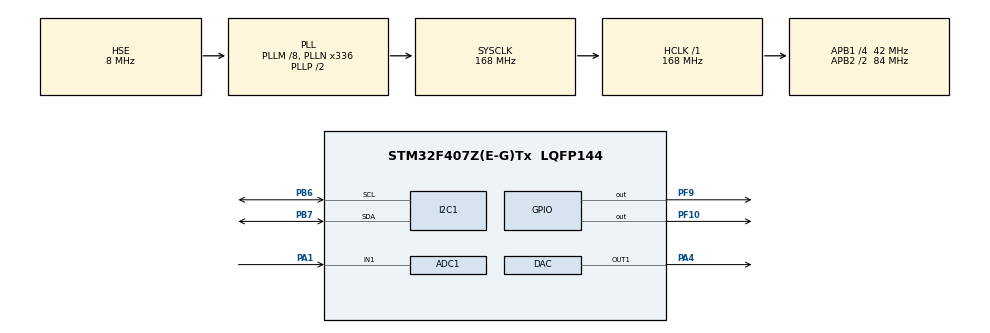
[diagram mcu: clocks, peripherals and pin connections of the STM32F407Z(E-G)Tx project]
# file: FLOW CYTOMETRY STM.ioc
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ADC1.Channel-0\#ChannelRegularConversion=ADC_CHANNEL_1
ADC1.ContinuousConvMode=ENABLE
ADC1.DMAContinuousRequests=ENABLE
ADC1.NbrOfConversionFlag=1
ADC1.Rank-0\#ChannelRegularConversion=1
ADC1.SamplingTime-0\#ChannelRegularConversion=ADC_SAMPLETIME_3CYCLES
ADC1.master=1
Dma.ADC1.0.Direction=DMA_PERIPH_TO_MEMORY
Dma.ADC1.0.FIFOMode=DMA_FIFOMODE_DISABLE
Dma.ADC1.0.Instance=DMA2_Stream0
Dma.ADC1.0.MemDataAlignment=DMA_MDATAALIGN_HALFWORD
Dma.ADC1.0.MemInc=DMA_MINC_ENABLE
Dma.ADC1.0.Mode=DMA_CIRCULAR
Dma.ADC1.0.PeriphDataAlignment=DMA_PDATAALIGN_HALFWORD
Dma.ADC1.0.PeriphInc=DMA_PINC_DISABLE
Dma.ADC1.0.Priority=DMA_PRIORITY_LOW
Dma.Request0=ADC1
Mcu.Family=STM32F4
Mcu.Name=STM32F407Z(E-G)Tx
Mcu.Package=LQFP144
NVIC.ADC_IRQn=true\:0\:0\:false\:false\:true\:true\:true\:true
NVIC.DMA2_Stream0_IRQn=true\:0\:0\:false\:false\:true\:false\:true\:true
NVIC.PriorityGroup=NVIC_PRIORITYGROUP_4
NVIC.TIM3_IRQn=true\:0\:0\:false\:false\:true\:true\:true\:true
PA1.Signal=ADCx_IN1
PA13.Mode=Serial_Wire
PA13.Signal=SYS_JTMS-SWDIO
PA14.Mode=Serial_Wire
PA14.Signal=SYS_JTCK-SWCLK
PA4.Signal=COMP_DAC1_group
PB6.Mode=I2C
PB6.Signal=I2C1_SCL
PB7.Mode=I2C
PB7.Signal=I2C1_SDA
PF10.GPIO_ModeDefaultOutputPP=GPIO_MODE_OUTPUT_PP
PF10.GPIO_PuPd=GPIO_PULLUP
PF10.GPIO_Speed=GPIO_SPEED_FREQ_HIGH
PF10.PinState=GPIO_PIN_SET
PF10.Signal=GPIO_Output
PF9.GPIO_PuPd=GPIO_PULLUP
PF9.GPIO_Speed=GPIO_SPEED_FREQ_HIGH
PF9.PinState=GPIO_PIN_SET
PF9.Signal=GPIO_Output
PH0-OSC_IN.Mode=HSE-External-Oscillator
PH0-OSC_IN.Signal=RCC_OSC_IN
PH1-OSC_OUT.Mode=HSE-External-Oscillator
PH1-OSC_OUT.Signal=RCC_OSC_OUT
ProjectManager.HeapSize=0x200
ProjectManager.StackSize=0x400
ProjectManager.TargetToolchain=MDK-ARM V5.32
RCC.48MHZClocksFreq_Value=84000000
RCC.AHBFreq_Value=168000000
RCC.APB1CLKDivider=RCC_HCLK_DIV4
RCC.APB1Freq_Value=42000000
RCC.APB1TimFreq_Value=84000000
RCC.APB2CLKDivider=RCC_HCLK_DIV2
RCC.APB2Freq_Value=84000000
RCC.APB2TimFreq_Value=168000000
RCC.CortexFreq_Value=168000000
RCC.HCLKFreq_Value=168000000
RCC.HSE_VALUE=8000000
RCC.HSI_VALUE=16000000
RCC.LSE_VALUE=32768
RCC.PLLM=8
RCC.PLLN=336
RCC.PLLSourceVirtual=RCC_PLLSOURCE_HSE
RCC.SYSCLKFreq_VALUE=168000000
RCC.SYSCLKSource=RCC_SYSCLKSOURCE_PLLCLK
RCC.VCOOutputFreq_Value=336000000
SH.ADCx_IN1.0=ADC1_IN1,IN1
SH.COMP_DAC1_group.0=DAC_OUT1,DAC_OUT1
TIM3.AutoReloadPreload=TIM_AUTORELOAD_PRELOAD_ENABLE
TIM3.Period=999
TIM3.Prescaler=83
VP_TIM3_VS_ClockSourceINT.Mode=Internal
board=custom

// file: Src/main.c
/* USER CODE BEGIN Header */
/**
  ******************************************************************************
  * @file           : main.c
  * @brief          : Main program body
  ******************************************************************************
  * @attention
  *
  * Copyright (c) 2023 STMicroelectronics.
  * All rights reserved.
  *
  * This software is licensed under terms that can be found in the LICENSE file
  * in the root directory of this software component.
  * If no LICENSE file comes with this software, it is provided AS-IS.
  *
  ******************************************************************************
  */
/* USER CODE END Header */
#include "sys.h"
#include "delay.h"
#include "usart.h"
#include "main.h"
#include "adc.h"
#include "dac.h"
#include "dma.h"
#include "i2c.h"
#include "tim.h"
#include "gpio.h"
#include "mcp4728.h"

/* USER CODE BEGIN PTD */
// 将变量变成全局变量可以方便后续定时器不用反复多次定义
int detection_num = 0;
int arry_value[3] = {0};
int arry = 0;
/* USER CODE END PTD */

/* USER CODE BEGIN PD */

// 捕获单片机当前时间，单位us级
__STATIC_INLINE uint32_t GXT_SYSTICK_IsActiveCounterFlag(void)
{
  return ((SysTick->CTRL & SysTick_CTRL_COUNTFLAG_Msk) == (SysTick_CTRL_COUNTFLAG_Msk));
}
static uint32_t getCurrentMicros(void)
{
  /* Ensure COUNTFLAG is reset by reading SysTick control and status register */
  GXT_SYSTICK_IsActiveCounterFlag();
  uint32_t m = HAL_GetTick();
  const uint32_t tms = SysTick->LOAD + 1;
  __IO uint32_t u = tms - SysTick->VAL;
  if (GXT_SYSTICK_IsActiveCounterFlag()) {
    m = HAL_GetTick();
    u = tms - SysTick->VAL;
  }
  return (m * 1000 + (u * 1000) / tms);
}
//获取系统时间，单位us
uint32_t micros(void)
{
  return getCurrentMicros();
}

//无波峰检测，仅仅只为测试用
//int Wave_detection_num(int num)
//{
////  获取当前单片机时间，us级
//	printf("%d",micros());
//	int adc_value,Wave_detection_num=0;
//	for(int i=0; i<num; i++)
//	{
//		adc_value = Get_Adc(ADC_CHANNEL_5);  //值得注意的是，此处若采用Get_Adc_Average()函数则报错

//		if(adc_value >= 2482)  //此处数值为x/3.3*4095，2482约为实际电压2V
//		{
//		  Wave_detection_num++;
//		}
//		delay_us(10);
//
//		adc_value = 0;
//	}
////  获取当前单片机时间，us级
//	printf("%d",micros());
//
//	return Wave_detection_num;
//}

//无波峰检测，delay方式，仅仅只为测试用
int Wave_detection_num(int num)
{
	//  获取当前单片机时间，ms级
//	printf("%d\r\n",HAL_GetTick());
	int time_on,time_off = 0;
	int adc_value,Wave_detection_num=0;
	//  获取当前单片机时间，ms级
	time_on = HAL_GetTick();
	while(1)
	{
	  time_off=HAL_GetTick();
		if(time_off-time_on <= num)
	   {
		   adc_value = Get_Adc(ADC_CHANNEL_5);

		   if(adc_value >= 2482)  //此处数值为x/3.3*4095，2482约为实际电压2V
		   {
		     Wave_detection_num++;
		   }
		   delay_us(50);
	   }
		 else{
			 break;
		 }
	 }
////  获取当前单片机时间，us级
//	printf("%d",micros());
    //  获取当前单片机时间，ms级
//	printf("%d\r\n",HAL_GetTick());
	return Wave_detection_num;
}

////无波峰检测，delay方式，仅仅只为测试用  （三位的函数,但是传输的HEX）
//void Waven()
//{
//	int adc_value;
//  adc_value = Get_Adc(ADC_CHANNEL_5);  //值得注意的是，此处若采用Get_Adc_Average()函数则报错
//	adc_value = adc_value & 0xfff;
////	printf("%d",sizeof adc_value);
//	printf("%03x",adc_value);     // 补足三位
//}

//无波峰检测，delay方式，仅仅只为测试用  （两位的函数，但是传输的ASCII）
void Waven()
{
	int adc_value;
	u8 temp[2]={0};
  adc_value = Get_Adc(ADC_CHANNEL_5);  //值得注意的是，此处若采用Get_Adc_Average()函数则报错
	temp[1] = adc_value & 0xff;
	temp[0] = (adc_value & 0xff00) >> 8;
//	printf("%x",temp[1]);
//	printf("%x",temp[0]);
  HAL_UART_Transmit(&UART1_Handler, temp, 2, 0xFFFF);
}

// 位移操作
void shift(int arr[],int value)
{
		int a,b=0;
	  a=arr[1];
	  b=arr[2];
	  arr[0]=a;
	  arr[1]=b;
	  arr[2]=value;
}

//波峰检测，仅仅只为测试用
int Wavepeak_detection_num(int num)
{
	int adc_value[3]={0};
	int detection_num=0;

	for(int m=0;m<=num;m++)
	{
		int b = Get_Adc(ADC_CHANNEL_5);
		shift(adc_value,b);

		if( adc_value[1] >= 3722)
		{
			if(adc_value[1] >= adc_value[0] && adc_value[1] >= adc_value[2])
			{
				detection_num++;
			}
		}
		delay_us(50);
	}

	return detection_num;
}

// 定时器更新中断回调函数
void HAL_TIM_PeriodElapsedCallback(TIM_HandleTypeDef *htim)
{
	static uint32_t TIM3_Cnt1 = 0;
	int adc_value;
	u8 temp[2]={0};

	// 判断是定时器3发生的中断
	if(htim->Instance == TIM3)
	{
		// 定时器3每中断一次，计数器自加1
		TIM3_Cnt1 ++;

    adc_value = Get_Adc(ADC_CHANNEL_5);  //值得注意的是，此处若采用Get_Adc_Average()函数则报错
		shift(arry_value,adc_value);
		if(arry_value[1] >= 2482)  //此处数值为x/3.3*4095，2482约为实际电压2V
		 {
			 if(arry_value[1] >= arry_value[0] && arry_value[1] >= arry_value[2])
			 {
		     detection_num++;
			 }
		 }

		temp[1] = adc_value & 0xff;
	  temp[0] = (adc_value & 0xff00) >> 8;
//	  printf("%x",temp[1]);
//	  printf("%x",temp[0]);
    HAL_UART_Transmit(&UART1_Handler, temp, 2, 0xFFFF);

		// 计数10000次，定时5s
		if(TIM3_Cnt1 >= 20000)
		{
			// 清除计数器
			TIM3_Cnt1 = 0;
      // 翻转LED_R的电平状态
      // HAL_GPIO_TogglePin(GPIOF, GPIO_PIN_9);

			printf("%d",detection_num);
			detection_num = 0;
			// 清除定时器初始化过程中的更新中断标志，避免定时器一启动就中断
      __HAL_TIM_CLEAR_IT(&htim3, TIM_IT_UPDATE);
      // 使能定时器3更新中断并关闭定时器
      HAL_TIM_Base_Stop_IT(&htim3);
		}
	}
}

/* USER CODE END PTD */

/* Private define ------------------------------------------------------------*/
/* USER CODE BEGIN PD */
/* USER CODE END PD */

void SystemClock_Config(void);

int main(void)
{
  /* USER CODE BEGIN 1 */
	unsigned int crist;
	int can;
	int t=0;

  /* USER CODE END 1 */

  /* MCU Configuration--------------------------------------------------------*/

  /* Reset of all peripherals, Initializes the Flash interface and the Systick. */
  HAL_Init();

  /* Configure the system clock */
  SystemClock_Config();

  /* Initialize all configured peripherals */
  delay_init(168);               	//初始化延时函数
	uart_init(256000);             	//初始化USART
	MX_GPIO_Init();
  MX_DMA_Init();
  MX_ADC1_Init();
  MX_DAC_Init();
  MX_I2C1_Init();
  MX_TIM3_Init();

  /* Infinite loop */
   while (1)
  {

    if(USART_RX_STA&0x8000)
		{

			if(USART_RX_BUF[0]=='P')
				{
//					#这里为测试代码
//					printf("\r\n\r\n");//插入换行
//					printf("%d\n",(int) USART_RX_BUF[1]);
//					if(USART_RX_BUF[1]==0x00)
//					{
//						a=(int) USART_RX_BUF[2];
//						b=(int) USART_RX_BUF[3];
//						printf("\r\n\r\n");//插入换行
//						crist = a*100 + b;
//						HAL_Delay(200);
//						printf("%d\n",crist);
//						printf("\r\n\r\n");//插入换行
//						printf("obsidian\n");
//				}

//					#这里为全通道相同数值
//					printf("\r\n\r\n");
					crist = USART_RX_BUF[1] << 8;
					crist += USART_RX_BUF[2];
					printf("%d\n",crist);
					MCP4728_Write_AllChannels_Same(&hi2c1, crist);
				}

			if(USART_RX_BUF[0]== 'Q')
				{

//					#这里为单通道赋予数值
//					printf("\r\n\r\n");
					can=(int) USART_RX_BUF[1];
					crist = USART_RX_BUF[2] << 8;
					crist += USART_RX_BUF[3];
					printf("%d\n",crist);
					MCP4728_Write_SingleChannel(&hi2c1, can, crist);

				}

			if(USART_RX_BUF[0]== 'R')
			{
				//这里判别通道的方式为一个通道对应一个GPIO引脚，所以拉高拉低相应引脚即可，此处0x01对应PF10,高频电磁阀
				if(USART_RX_BUF[1]== 0x01)
				{
					if(USART_RX_BUF[2]== 0x00)
					{
						HAL_GPIO_WritePin(GPIOF,GPIO_PIN_10,GPIO_PIN_RESET);
						HAL_GPIO_WritePin(GPIOF,GPIO_PIN_9,GPIO_PIN_RESET);
						printf("off");
					}
					if(USART_RX_BUF[2]== 0x01)
					{
						HAL_GPIO_WritePin(GPIOF,GPIO_PIN_10,GPIO_PIN_SET);
						HAL_GPIO_WritePin(GPIOF,GPIO_PIN_9,GPIO_PIN_SET);
						printf("on");
					}
					if(USART_RX_BUF[2]== 0x02)
					{
						while(t<=4)
						{
					   HAL_GPIO_WritePin(GPIOF,GPIO_PIN_10,GPIO_PIN_SET);
					   HAL_Delay(100);
					   HAL_GPIO_WritePin(GPIOF,GPIO_PIN_10,GPIO_PIN_RESET);
						 HAL_Delay(100);
				     t+=1;
						 printf("over");
						}
						t=0;
					}
				}

				if(USART_RX_BUF[1]== 0x02) //02，03对应普通电磁阀
				{
					if(USART_RX_BUF[2]== 0x00)
					{
						HAL_GPIO_WritePin(GPIOB,GPIO_PIN_1,GPIO_PIN_RESET);
						printf("off");
					}
					if(USART_RX_BUF[2]== 0x01)
					{
						HAL_GPIO_WritePin(GPIOB,GPIO_PIN_1,GPIO_PIN_SET);
						printf("on");
					}
				}

				if(USART_RX_BUF[1]== 0x03)
				{
					if(USART_RX_BUF[2]== 0x00)
					{
						HAL_GPIO_WritePin(GPIOB,GPIO_PIN_2,GPIO_PIN_RESET);
						printf("off");
					}
					if(USART_RX_BUF[2]== 0x01)
					{
						HAL_GPIO_WritePin(GPIOB,GPIO_PIN_2,GPIO_PIN_SET);
						printf("on");
					}
				}
			}

//      if(USART_RX_BUF[0]==0x53)
//		  {
//				Waven();
//				// 此部分为加了波峰检测
////				for(int i=0;i<3;i++)
////		    {
////		      adcx[i]=Get_Adc_Average(ADC_CHANNEL_5,1);//获取通道5的转换值，20次取平均
//////		      LCD_ShowxNum(134,130,adcx[i],4,16,0);    //显示ADCC采样后的原始值
////		      temp=(float)adcx[i]*(3.3/4096);          //获取计算后的带小数的实际电压值，比如3.1111
////		      arr1[i]=temp;                            //赋值整数部分给adcx变量，因为adcx为u16整形
//////		      LCD_ShowxNum(134,150,arr1[i],1,16,0);    //显示电压值的整数部分，3.1111的话，这里就是显示3
//////			    temp-=arr1[i];                           //把已经显示的整数部分去掉，留下小数部分，比如3.1111-3=0.1111
//////		      temp*=1000;                           //小数部分乘以1000，例如：0.1111就转换为111.1，相当于保留三位小数。
//////		      LCD_ShowxNum(150,150,temp,3,16,0X80); //显示小数部分（前面转换为了整形显示），这里显示的就是111.
//////		      LED0=!LED0;
////		      delay_us(100);
////		    }
////		    if(2<=arr1[0] && 2<=arr1[1] && 2<=arr1[2])
////		    {
//////			    if(adcx[0]<=adcx[1])
//////			    {
//////				    if(adcx[2]<=adcx[1])
//////				    {
////					      count++;
////					      printf("Get Daze!Current num is %d\r\n",count);
//////				    }
//////		      }
////		    }
//////		    delay_us(100);
//      }
//
			if(USART_RX_BUF[0]==0x54)
		  {

				// 此部分为检测delay_us功能
				printf("%d", Wave_detection_num(10000));
				// 加入了波峰后的检测
//				Wavepeak_detection_num(10000);
//				printf("Get Daze!");

//				printf("Get Daze!Currect number is %d\r\n", Wavepeak_detection_num(10000));
	    }

			if(USART_RX_BUF[0]==0x48)
		  {

		  // 清除定时器初始化过程中的更新中断标志，避免定时器一启动就中断
      __HAL_TIM_CLEAR_IT(&htim3, TIM_IT_UPDATE);
      // 使能定时器3更新中断并启动定时器
      HAL_TIM_Base_Start_IT(&htim3);
	    }

			if(USART_RX_BUF[0]==0x49)
		  {

		  // 清除定时器初始化过程中的更新中断标志，避免定时器一启动就中断
      __HAL_TIM_CLEAR_IT(&htim3, TIM_IT_UPDATE);
      // 使能定时器3更新中断并关闭定时器
      HAL_TIM_Base_Stop_IT(&htim3);
	    }

			while(__HAL_UART_GET_FLAG(&UART1_Handler,UART_FLAG_TC)!=SET);		//等待发送结束
//			printf("\r\n\r\n");//插入换行
			USART_RX_STA=0;
			}
	  }
  /* USER CODE END 3 */
}

void SystemClock_Config(void)
{
  RCC_OscInitTypeDef RCC_OscInitStruct = {0};
  RCC_ClkInitTypeDef RCC_ClkInitStruct = {0};

  /** Configure the main internal regulator output voltage
  */
  __HAL_RCC_PWR_CLK_ENABLE();
  __HAL_PWR_VOLTAGESCALING_CONFIG(PWR_REGULATOR_VOLTAGE_SCALE1);

  /** Initializes the RCC Oscillators according to the specified parameters
  * in the RCC_OscInitTypeDef structure.
  */
  RCC_OscInitStruct.OscillatorType = RCC_OSCILLATORTYPE_HSE;
  RCC_OscInitStruct.HSEState = RCC_HSE_ON;
  RCC_OscInitStruct.PLL.PLLState = RCC_PLL_ON;
  RCC_OscInitStruct.PLL.PLLSource = RCC_PLLSOURCE_HSE;
  RCC_OscInitStruct.PLL.PLLM = 8;
  RCC_OscInitStruct.PLL.PLLN = 336;
  RCC_OscInitStruct.PLL.PLLP = RCC_PLLP_DIV2;
  RCC_OscInitStruct.PLL.PLLQ = 4;
  if (HAL_RCC_OscConfig(&RCC_OscInitStruct) != HAL_OK)
  {
    Error_Handler();
  }

  /** Initializes the CPU, AHB and APB buses clocks
  */
  RCC_ClkInitStruct.ClockType = RCC_CLOCKTYPE_HCLK|RCC_CLOCKTYPE_SYSCLK
                              |RCC_CLOCKTYPE_PCLK1|RCC_CLOCKTYPE_PCLK2;
  RCC_ClkInitStruct.SYSCLKSource = RCC_SYSCLKSOURCE_PLLCLK;
  RCC_ClkInitStruct.AHBCLKDivider = RCC_SYSCLK_DIV1;
  RCC_ClkInitStruct.APB1CLKDivider = RCC_HCLK_DIV4;
  RCC_ClkInitStruct.APB2CLKDivider = RCC_HCLK_DIV2;

  if (HAL_RCC_ClockConfig(&RCC_ClkInitStruct, FLASH_LATENCY_5) != HAL_OK)
  {
    Error_Handler();
  }
}

void Error_Handler(void)
{
  __disable_irq();
  while (1)
  {
  }
}
